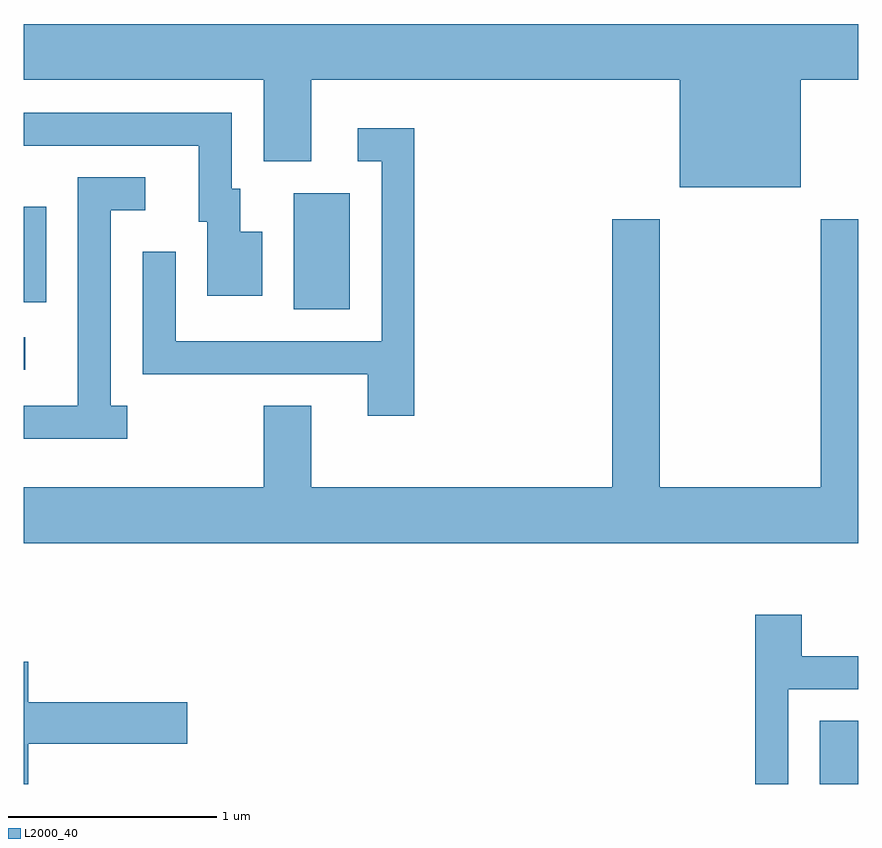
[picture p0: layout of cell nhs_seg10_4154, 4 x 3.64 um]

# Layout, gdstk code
import gdstk
lib = gdstk.Library(unit=1e-6, precision=1e-09)
def R(c, l, rs):  # rectangles x0, y0, x1, y1
    for r in rs: c.add(gdstk.rectangle(r[:2], r[2:], *l))
def P(c, l, *ps):  # polygons
    for p in ps: c.add(gdstk.Polygon(p, *l))
L2000_40 = (2000, 40)

nhs_seg10_4154 = lib.new_cell('nhs_seg10_4154')
R(nhs_seg10_4154, L2000_40, [(311.426,2130.522,311.611,2130.824), (307.611,2132.506,307.618,2132.664), (308.906,2132.796,309.174,2133.354), (307.611,2132.831,307.719,2133.289)])
P(nhs_seg10_4154, L2000_40, [(311.334,2133.896),(311.611,2133.896),(311.611,2134.164),(307.611,2134.164),(307.611,2133.896),(308.761,2133.896),(308.761,2133.506),(308.989,2133.506),(308.989,2133.896),(310.756,2133.896),(310.756,2133.381),(311.334,2133.381)],
  [(308.754,2133.169),(308.649,2133.169),(308.649,2133.374),(308.609,2133.374),(308.609,2133.739),(307.611,2133.739),(307.611,2133.581),(308.451,2133.581),(308.451,2133.216),(308.491,2133.216),(308.491,2132.861),(308.754,2132.861)],
  [(309.484,2133.664),(309.213,2133.664),(309.213,2133.506),(309.326,2133.506),(309.326,2132.644),(308.339,2132.644),(308.339,2133.073),(308.181,2133.073),(308.181,2132.486),(309.261,2132.486),(309.261,2132.286),(309.484,2132.286)],
  [(308.108,2132.334),(308.029,2132.334),(308.029,2133.271),(308.193,2133.271),(308.193,2133.429),(307.871,2133.429),(307.871,2132.334),(307.611,2132.334),(307.611,2132.176),(308.108,2132.176)],
  [(311.611,2133.229),(311.431,2133.229),(311.431,2131.944),(310.659,2131.944),(310.659,2133.229),(310.431,2133.229),(310.431,2131.944),(308.989,2131.944),(308.989,2132.334),(308.761,2132.334),(308.761,2131.944),(307.611,2131.944),(307.611,2131.676),(311.611,2131.676)],
  [(311.274,2130.976),(311.611,2130.976),(311.611,2131.134),(311.339,2131.134),(311.339,2131.334),(311.116,2131.334),(311.116,2130.522),(311.274,2130.522)],
  [(307.634,2130.716),(308.394,2130.716),(308.394,2130.914),(307.634,2130.914),(307.634,2131.109),(307.611,2131.109),(307.611,2130.522),(307.634,2130.522)])

lib.write_gds('nhs_seg10_4154.gds')
